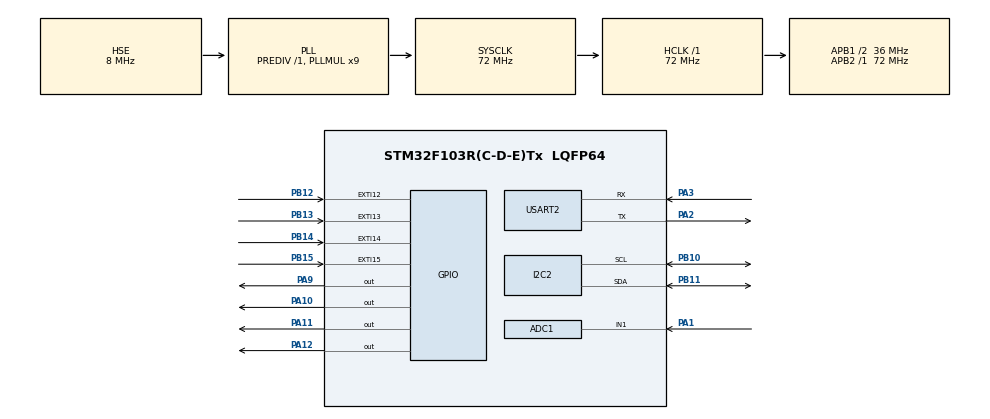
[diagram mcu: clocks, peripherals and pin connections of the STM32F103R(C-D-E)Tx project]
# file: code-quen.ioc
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ADC1.Channel-0\#ChannelRegularConversion=ADC_CHANNEL_1
ADC1.NbrOfConversionFlag=1
ADC1.Rank-0\#ChannelRegularConversion=1
ADC1.SamplingTime-0\#ChannelRegularConversion=ADC_SAMPLETIME_239CYCLES_5
ADC1.master=1
Mcu.Family=STM32F1
Mcu.Name=STM32F103R(C-D-E)Tx
Mcu.Package=LQFP64
NVIC.EXTI15_10_IRQn=true\:0\:0\:false\:false\:true\:true\:true\:true
NVIC.PriorityGroup=NVIC_PRIORITYGROUP_4
NVIC.TIM1_UP_IRQn=true\:15\:0\:false\:false\:true\:false\:true\:true
NVIC.TIM2_IRQn=true\:0\:0\:false\:false\:true\:true\:true\:true
NVIC.TimeBase=TIM1_UP_IRQn
NVIC.TimeBaseIP=TIM1
NVIC.USART2_IRQn=true\:0\:0\:false\:false\:true\:true\:true\:true
PA1.Signal=ADCx_IN1
PA10.PinState=GPIO_PIN_SET
PA10.Signal=GPIO_Output
PA11.PinState=GPIO_PIN_SET
PA11.Signal=GPIO_Output
PA12.PinState=GPIO_PIN_SET
PA12.Signal=GPIO_Output
PA13.Mode=Serial_Wire
PA13.Signal=SYS_JTMS-SWDIO
PA14.Mode=Serial_Wire
PA14.Signal=SYS_JTCK-SWCLK
PA2.Mode=Asynchronous
PA2.Signal=USART2_TX
PA3.Mode=Asynchronous
PA3.Signal=USART2_RX
PA9.PinState=GPIO_PIN_SET
PA9.Signal=GPIO_Output
PB10.Mode=I2C
PB10.Signal=I2C2_SCL
PB11.Mode=I2C
PB11.Signal=I2C2_SDA
PB12.GPIO_ModeDefaultEXTI=GPIO_MODE_IT_FALLING
PB12.Signal=GPXTI12
PB13.GPIO_ModeDefaultEXTI=GPIO_MODE_IT_FALLING
PB13.Signal=GPXTI13
PB14.GPIO_ModeDefaultEXTI=GPIO_MODE_IT_FALLING
PB14.Signal=GPXTI14
PB15.GPIO_ModeDefaultEXTI=GPIO_MODE_IT_FALLING
PB15.Signal=GPXTI15
PD0-OSC_IN.Mode=HSE-External-Oscillator
PD0-OSC_IN.Signal=RCC_OSC_IN
PD1-OSC_OUT.Mode=HSE-External-Oscillator
PD1-OSC_OUT.Signal=RCC_OSC_OUT
ProjectManager.HeapSize=0x200
ProjectManager.StackSize=0x400
ProjectManager.TargetToolchain=STM32CubeIDE
RCC.AHBFreq_Value=72000000
RCC.APB1CLKDivider=RCC_HCLK_DIV2
RCC.APB1Freq_Value=36000000
RCC.APB1TimFreq_Value=72000000
RCC.APB2Freq_Value=72000000
RCC.APB2TimFreq_Value=72000000
RCC.HCLKFreq_Value=72000000
RCC.PLLMUL=RCC_PLL_MUL9
RCC.PLLSourceVirtual=RCC_PLLSOURCE_HSE
RCC.SYSCLKFreq_VALUE=72000000
RCC.SYSCLKSource=RCC_SYSCLKSOURCE_PLLCLK
RCC.USBFreq_Value=72000000
SH.ADCx_IN1.0=ADC1_IN1,IN1
TIM2.Prescaler=0
USART2.VirtualMode=VM_ASYNC
VP_SYS_VS_tim1.Mode=TIM1
VP_TIM2_VS_ClockSourceINT.Mode=Internal
board=custom

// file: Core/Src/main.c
/* USER CODE BEGIN Header */
/**
 ******************************************************************************
 * @file           : main.c
 * @brief          : Main program body
 ******************************************************************************
 * @attention
 *
 * Copyright (c) 2023 STMicroelectronics.
 * All rights reserved.
 *
 * This software is licensed under terms that can be found in the LICENSE file
 * in the root directory of this software component.
 * If no LICENSE file comes with this software, it is provided AS-IS.
 *
 ******************************************************************************
 */
/* USER CODE END Header */
#include "main.h"
#include "adc.h"
#include "i2c.h"
#include "tim.h"
#include "usart.h"
#include "gpio.h"

/* USER CODE BEGIN Includes */
#include <stdio.h>
#include <string.h>
#include <stdbool.h>
#include <lcd.h>
#include "ads1115.h"
#include <stdlib.h>
#include <math.h>
/* USER CODE END Includes */

/* USER CODE BEGIN PTD */
typedef struct
{
	double dbSensorStm;
	double dbSensorAds;
	uint8_t ucSensorStm[10];
	uint8_t ucSensorAds[10];
} sensorDisHandle_t;

typedef struct
{
	uint8_t ucCursor;
	bool bCfg;
	double dbVal[2];
	uint8_t ucVal[2][10];
} cfgDisHandle_t;

typedef struct
{
	uint8_t ucPage;
	sensorDisHandle_t sensorDis;
	cfgDisHandle_t cfgDis;
} lcdDisHandle_t;

typedef struct
{
	uint8_t ucType;
	uint8_t ucVal[5];
} uartCfgHandle_t;

typedef enum
{
	BUT0_BIT,
	BUT1_BIT,
	BUT2_BIT,
	BUT3_BIT,
	NONE
} push_button_t;
/* USER CODE END PTD */

/* USER CODE BEGIN PD */
#define START_BYTE 1
#define END_BYTE 2
#define ERROR_FRAME 3
#define UART_BUFFER_LEN 20
#define LED_ON 0
#define LED_OFF 1
/* USER CODE END PD */

/* USER CODE BEGIN PV */
static const char *TAG = "FREERTOS.c";

lcdDisHandle_t lcdDis = {
	.ucPage = 0,
	.sensorDis = {0},
	.cfgDis = {
		.ucCursor = 0,
		.bCfg = false,
		.dbVal[0] = 1000,
		.dbVal[1] = 25.0,
	},
};

push_button_t push_button = NONE;
char cVal[2][20];
uint8_t ucDataAds[3] = {0};

uint8_t n = 1;
uint8_t max_n = 20;

unsigned long previous_time_sensor_task;
unsigned long previous_time_lcd_task;
unsigned long previous_time_general_task;
unsigned long previous_time_count;
unsigned long current_time_count;
unsigned long i_log_time;
char log_time[10] = {0};

uartCfgHandle_t uartCfg = {0};
uint8_t ucRxData;
uint8_t ucRxBuffer[UART_BUFFER_LEN] = {0};
uint8_t ucRxFlag = START_BYTE;
uint8_t ucRxCnt = 0;
/* USER CODE END PV */

void SystemClock_Config(void);
/* USER CODE BEGIN PFP */
void reverse(char *str, int len)
{
	int i = 0, j = len - 1, temp;
	while (i < j)
	{
		temp = str[i];
		str[i] = str[j];
		str[j] = temp;
		i++;
		j--;
	}
}

int intToStr(int x, char str[], int d)
{
	int i = 0;
	if (x == 0)
		str[i++] = '0';

	while (x)
	{
		str[i++] = (x % 10) + '0';
		x = x / 10;
	}

	while (i < d)
		str[i++] = '0';

	reverse(str, i);
	str[i] = '\0';
	return i;
}

void ftoa(double n, char *res, int afterpoint)
{
	int ipart = (int)n;
	double fpart = n - (double)ipart;
	int i = intToStr(ipart, res, 0);
	if (afterpoint != 0)
	{
		res[i] = '.';
		fpart = fpart * pow(10, afterpoint);
		intToStr((int)fpart, res + i + 1, afterpoint);
	}
}

void LOG(const char *TAG, char *data)
{
	char data_log[100] = {0};
	sprintf(data_log, "\r\n%s: %s\r\n", TAG, data);
	HAL_UART_Transmit(&huart2, (uint8_t *)data_log, strlen(data_log), 1000);
}

void lcd_task(void);
void sensor_task(void);
void general_task(void);
void HAL_GPIO_EXTI_Callback(uint16_t GPIO_Pin);
/* USER CODE END PFP */

int main(void)
{
	/* USER CODE BEGIN 1 */
	void (*stt_task_point_array[])(void) = {sensor_task, general_task, lcd_task};
	/* USER CODE END 1 */

	/* MCU Configuration--------------------------------------------------------*/

	/* Reset of all peripherals, Initializes the Flash interface and the Systick. */
	HAL_Init();

	/* Configure the system clock */
	SystemClock_Config();

	/* Initialize all configured peripherals */
	MX_GPIO_Init();
	MX_ADC1_Init();
	MX_I2C2_Init();
	MX_USART2_UART_Init();
	MX_TIM2_Init();
	/* USER CODE BEGIN 2 */
	/* Setup Sensor Task */
	ads_init();

	/* Setup LCD Task */
	lcd_init();
	lcd_clear();
	ftoa(lcdDis.cfgDis.dbVal[0] / 1000, (char *)lcdDis.cfgDis.ucVal[0], 1);
	ftoa(lcdDis.cfgDis.dbVal[1], (char *)lcdDis.cfgDis.ucVal[1], 1);

	/* Setup General Task */
	HAL_UART_Receive_IT(&huart2, &ucRxData, 1);

	/* USER CODE END 2 */

	/* Infinite loop */
	/* USER CODE BEGIN WHILE */
	previous_time_lcd_task = HAL_GetTick();
	//  previous_time_sensor_task = HAL_GetTick();
	previous_time_general_task = HAL_GetTick();
	while (1)
	{
		/* USER CODE END WHILE */

		/* USER CODE BEGIN 3 */
		//	if (HAL_GetTick() - (lcdDis.cfgDis.dbVal[0] + previous_time_sensor_task) >= 0 || (previous_time_sensor_task == 0))
		//	{
		//		previous_time_sensor_task = HAL_GetTick();
		//		sensor_task();
		//	}
		//
		//	if (HAL_GetTick() - previous_time_general_task >= 50)
		//	{
		//		previous_time_general_task = HAL_GetTick();
		//		general_task();
		//	}
		//
		//	if ((HAL_GetTick() - previous_time_lcd_task >= 500))
		//	{
		//		previous_time_lcd_task = HAL_GetTick();
		//		lcd_task();
		//	}

		if ((uwTick % 50) == 0)
		{
			itoa(uwTick, log_time, 10);
			LOG("GeneralTask: ", log_time);
			stt_task_point_array[1]();
		}

		if ((uwTick % (int)lcdDis.cfgDis.dbVal[0]) == (n * 50 + 10))
		{
			itoa(uwTick, log_time, 10);
			LOG("LCDTask: ", log_time);
			stt_task_point_array[2]();
			n++;
			if (n >= max_n)
			{
				n = 0;
			}
		}

		if ((uwTick % (int)lcdDis.cfgDis.dbVal[0]) == 80)
		{
			itoa(uwTick, log_time, 10);
			LOG("SensorTask: ", log_time);
			stt_task_point_array[0]();
		}
	}
	/* USER CODE END 3 */
}

void SystemClock_Config(void)
{
	RCC_OscInitTypeDef RCC_OscInitStruct = {0};
	RCC_ClkInitTypeDef RCC_ClkInitStruct = {0};
	RCC_PeriphCLKInitTypeDef PeriphClkInit = {0};

	/** Initializes the RCC Oscillators according to the specified parameters
	 * in the RCC_OscInitTypeDef structure.
	 */
	RCC_OscInitStruct.OscillatorType = RCC_OSCILLATORTYPE_HSE;
	RCC_OscInitStruct.HSEState = RCC_HSE_ON;
	RCC_OscInitStruct.HSEPredivValue = RCC_HSE_PREDIV_DIV1;
	RCC_OscInitStruct.HSIState = RCC_HSI_ON;
	RCC_OscInitStruct.PLL.PLLState = RCC_PLL_ON;
	RCC_OscInitStruct.PLL.PLLSource = RCC_PLLSOURCE_HSE;
	RCC_OscInitStruct.PLL.PLLMUL = RCC_PLL_MUL9;
	if (HAL_RCC_OscConfig(&RCC_OscInitStruct) != HAL_OK)
	{
		Error_Handler();
	}

	/** Initializes the CPU, AHB and APB buses clocks
	 */
	RCC_ClkInitStruct.ClockType = RCC_CLOCKTYPE_HCLK | RCC_CLOCKTYPE_SYSCLK | RCC_CLOCKTYPE_PCLK1 | RCC_CLOCKTYPE_PCLK2;
	RCC_ClkInitStruct.SYSCLKSource = RCC_SYSCLKSOURCE_PLLCLK;
	RCC_ClkInitStruct.AHBCLKDivider = RCC_SYSCLK_DIV1;
	RCC_ClkInitStruct.APB1CLKDivider = RCC_HCLK_DIV2;
	RCC_ClkInitStruct.APB2CLKDivider = RCC_HCLK_DIV1;

	if (HAL_RCC_ClockConfig(&RCC_ClkInitStruct, FLASH_LATENCY_2) != HAL_OK)
	{
		Error_Handler();
	}
	PeriphClkInit.PeriphClockSelection = RCC_PERIPHCLK_ADC;
	PeriphClkInit.AdcClockSelection = RCC_ADCPCLK2_DIV2;
	if (HAL_RCCEx_PeriphCLKConfig(&PeriphClkInit) != HAL_OK)
	{
		Error_Handler();
	}
}

/* USER CODE BEGIN 4 */
void lcd_task(void)
{
	lcd_clear();
	if (lcdDis.ucPage == 0)
	{
		for (int i = 0; i < 2; i++)
		{
			memset(cVal[i], 0, strlen(cVal[i]));
			if (i == 0)
			{
				sprintf(cVal[i], "STM: %soC", (char *)lcdDis.sensorDis.ucSensorStm);
			}
			else
				sprintf(cVal[i], "ADS: %soC", (char *)lcdDis.sensorDis.ucSensorAds);
		}
		lcd_send_cmd(0x80 | 0x00);
		lcd_send_string(cVal[0]);
		lcd_send_cmd(0x80 | 0x40);
		lcd_send_string(cVal[1]);
	}
	else if (lcdDis.ucPage == 1)
	{
		lcd_send_cmd(0x80 | 0x00);
		lcd_send_string((char *)"Chu ky:");
		lcd_send_cmd(0x80 | 0x08);
		lcd_send_string((char *)lcdDis.cfgDis.ucVal[0]);
		lcd_send_cmd(0x80 | 0x40);
		lcd_send_string((char *)"Nguong:");
		lcd_send_cmd(0x80 | 0x48);
		lcd_send_string((char *)lcdDis.cfgDis.ucVal[1]);
		if (lcdDis.cfgDis.ucCursor == 0)
		{
			if (lcdDis.cfgDis.bCfg == true)
			{
				lcd_send_cmd(0x80 | 0x0F);
				lcd_send_string((char *)"<");
			}
			else
			{
				lcd_send_cmd(0x80 | 0x0E);
				lcd_send_string((char *)"<-");
			}
		}
		else if (lcdDis.cfgDis.ucCursor == 1)
		{
			if (lcdDis.cfgDis.bCfg == true)
			{
				lcd_send_cmd(0x80 | 0x4F);
				lcd_send_string((char *)"<");
			}
			else
			{
				lcd_send_cmd(0x80 | 0x4E);
				lcd_send_string((char *)"<-");
			}
		}
	}
}

void sensor_task(void)
{
	HAL_ADC_Start_IT(&hadc1);
	lcdDis.sensorDis.dbSensorStm = (double)HAL_ADC_GetValue(&hadc1) * 100 * 3.3 / 4095;
	ftoa(lcdDis.sensorDis.dbSensorStm, (char *)lcdDis.sensorDis.ucSensorStm, 2);
	memset((char *)ucDataAds, '\0', strlen((char *)ucDataAds));
	ads_read(ADS1115_CONVERSION_REG, ucDataAds);
	lcdDis.sensorDis.dbSensorAds = ((double)((((uint16_t)ucDataAds[0] << 8) & 0xFF00) | ((uint16_t)ucDataAds[1] & 0x00FF)) * 1.024 / 32767) * 100;
	ftoa(lcdDis.sensorDis.dbSensorAds, (char *)lcdDis.sensorDis.ucSensorAds, 2);
	if (lcdDis.sensorDis.dbSensorStm > lcdDis.cfgDis.dbVal[1])
	{
		HAL_GPIO_WritePin(GPIOA, GPIO_PIN_12, LED_ON);
		HAL_GPIO_WritePin(GPIOA, GPIO_PIN_11, LED_ON);
	}
	else
	{
		HAL_GPIO_WritePin(GPIOA, GPIO_PIN_12, LED_OFF);
		HAL_GPIO_WritePin(GPIOA, GPIO_PIN_11, LED_OFF);
	}
	if (lcdDis.sensorDis.dbSensorAds > lcdDis.cfgDis.dbVal[1])
	{
		HAL_GPIO_WritePin(GPIOA, GPIO_PIN_10, LED_ON);
		HAL_GPIO_WritePin(GPIOA, GPIO_PIN_9, LED_ON);
	}
	else
	{
		HAL_GPIO_WritePin(GPIOA, GPIO_PIN_10, LED_OFF);
		HAL_GPIO_WritePin(GPIOA, GPIO_PIN_9, LED_OFF);
	}
}

void general_task(void)
{
	if (push_button == BUT0_BIT)
	{
		lcdDis.cfgDis.bCfg = false;
		lcdDis.cfgDis.ucCursor = 0;
		lcdDis.ucPage = 1 - lcdDis.ucPage;
	}
	else if (push_button == BUT1_BIT)
	{
		if (lcdDis.ucPage == 1 && lcdDis.cfgDis.bCfg == false)
		{
			lcdDis.cfgDis.ucCursor = 1 - lcdDis.cfgDis.ucCursor;
		}
		else if (lcdDis.ucPage == 1 && lcdDis.cfgDis.bCfg == true)
		{
			if (lcdDis.cfgDis.ucCursor == 0)
			{
				if (lcdDis.cfgDis.dbVal[lcdDis.cfgDis.ucCursor] == 9500)
				{
					lcdDis.cfgDis.dbVal[lcdDis.cfgDis.ucCursor] = 500;
				}
				else
					lcdDis.cfgDis.dbVal[lcdDis.cfgDis.ucCursor] += 500;
			}
			else if (lcdDis.cfgDis.ucCursor == 1)
			{
				if (lcdDis.cfgDis.dbVal[lcdDis.cfgDis.ucCursor] == 99)
				{
					lcdDis.cfgDis.dbVal[lcdDis.cfgDis.ucCursor] = 1;
				}
				else
					lcdDis.cfgDis.dbVal[lcdDis.cfgDis.ucCursor] += 1;
			}
			ftoa(lcdDis.cfgDis.dbVal[0] / 1000, (char *)lcdDis.cfgDis.ucVal[0], 1);
			ftoa(lcdDis.cfgDis.dbVal[1], (char *)lcdDis.cfgDis.ucVal[1], 1);
		}
	}
	else if (push_button == BUT2_BIT)
	{
		if (lcdDis.ucPage == 1 && lcdDis.cfgDis.bCfg == false)
		{
			lcdDis.cfgDis.ucCursor = 1 - lcdDis.cfgDis.ucCursor;
		}
		else if (lcdDis.ucPage == 1 && lcdDis.cfgDis.bCfg == true)
		{
			if (lcdDis.cfgDis.ucCursor == 0)
			{
				if (lcdDis.cfgDis.dbVal[lcdDis.cfgDis.ucCursor] == 500)
				{
					lcdDis.cfgDis.dbVal[lcdDis.cfgDis.ucCursor] = 9500;
				}
				else
					lcdDis.cfgDis.dbVal[lcdDis.cfgDis.ucCursor] -= 500;
			}
			else if (lcdDis.cfgDis.ucCursor == 1)
			{
				if (lcdDis.cfgDis.dbVal[lcdDis.cfgDis.ucCursor] == 1)
				{
					lcdDis.cfgDis.dbVal[lcdDis.cfgDis.ucCursor] = 99;
				}
				else
					lcdDis.cfgDis.dbVal[lcdDis.cfgDis.ucCursor] -= 1;
			}
			ftoa(lcdDis.cfgDis.dbVal[0] / 1000, (char *)lcdDis.cfgDis.ucVal[0], 1);
			ftoa(lcdDis.cfgDis.dbVal[1], (char *)lcdDis.cfgDis.ucVal[1], 1);
		}
	}
	else if (push_button == BUT3_BIT)
	{
		if (lcdDis.ucPage == 1)
		{
			lcdDis.cfgDis.bCfg = !lcdDis.cfgDis.bCfg;
		}
	}

	if (ucRxFlag == END_BYTE)
	{
		LOG(TAG, (char *)ucRxBuffer);
		sscanf((char *)ucRxBuffer, "$,%c,%s,*", (char *)&uartCfg.ucType, (char *)uartCfg.ucVal);
		if (uartCfg.ucType == 'P')
		{
			lcdDis.cfgDis.dbVal[0] = atof((char *)uartCfg.ucVal) * 1000;
			if (lcdDis.cfgDis.dbVal[0] > 9500)
				lcdDis.cfgDis.dbVal[0] = 9500;
			else if (lcdDis.cfgDis.dbVal[0] < 500)
				lcdDis.cfgDis.dbVal[0] = 500;
			ftoa(lcdDis.cfgDis.dbVal[0] / 1000, (char *)lcdDis.cfgDis.ucVal[0], 1);
		}
		else if (uartCfg.ucType == 'T')
		{
			lcdDis.cfgDis.dbVal[1] = atof((char *)uartCfg.ucVal);
			if (lcdDis.cfgDis.dbVal[1] > 99)
				lcdDis.cfgDis.dbVal[1] = 99;
			else if (lcdDis.cfgDis.dbVal[1] < 1)
				lcdDis.cfgDis.dbVal[1] = 1;
			ftoa(lcdDis.cfgDis.dbVal[1], (char *)lcdDis.cfgDis.ucVal[1], 1);
		}
		ucRxCnt = 0;
		ucRxFlag = START_BYTE;
		HAL_UART_Receive_IT(&huart2, &ucRxData, 1);
	}

	max_n = lcdDis.cfgDis.dbVal[0] / 50;
	push_button = NONE;
}
void HAL_GPIO_EXTI_Callback(uint16_t GPIO_Pin)
{
	if (GPIO_Pin == GPIO_PIN_12)
	{
		push_button = BUT0_BIT;
	}
	else if (GPIO_Pin == GPIO_PIN_13)
	{
		push_button = BUT1_BIT;
	}
	else if (GPIO_Pin == GPIO_PIN_14)
	{
		push_button = BUT2_BIT;
	}
	else if (GPIO_Pin == GPIO_PIN_15)
	{
		push_button = BUT3_BIT;
	}
}

void HAL_UART_RxCpltCallback(UART_HandleTypeDef *huart)
{
	if (ucRxData == '$')
	{
		memset((char *)ucRxBuffer, 0, strlen((char *)ucRxBuffer));
		ucRxBuffer[0] = ucRxData;
		ucRxFlag = START_BYTE;
		HAL_UART_Receive_IT(&huart2, &ucRxData, 1);
	}
	else if (ucRxFlag == START_BYTE && ucRxCnt < 20)
	{
		ucRxBuffer[++ucRxCnt] = ucRxData;
		if (ucRxData == '*')
			ucRxFlag = END_BYTE;
		else
			HAL_UART_Receive_IT(&huart2, &ucRxData, 1);
	}
	else if (ucRxCnt == UART_BUFFER_LEN)
	{
		ucRxFlag = ERROR_FRAME;
		memset((char *)ucRxBuffer, 0, strlen((char *)ucRxBuffer));
		ucRxCnt = 0;
		HAL_UART_Receive_IT(&huart2, &ucRxData, 1);
	}
}
/* USER CODE END 4 */

void HAL_TIM_PeriodElapsedCallback(TIM_HandleTypeDef *htim)
{
	if (htim->Instance == TIM1)
	{
		HAL_IncTick();
	}
}

void Error_Handler(void)
{
	__disable_irq();
	while (1)
	{
	}
}
